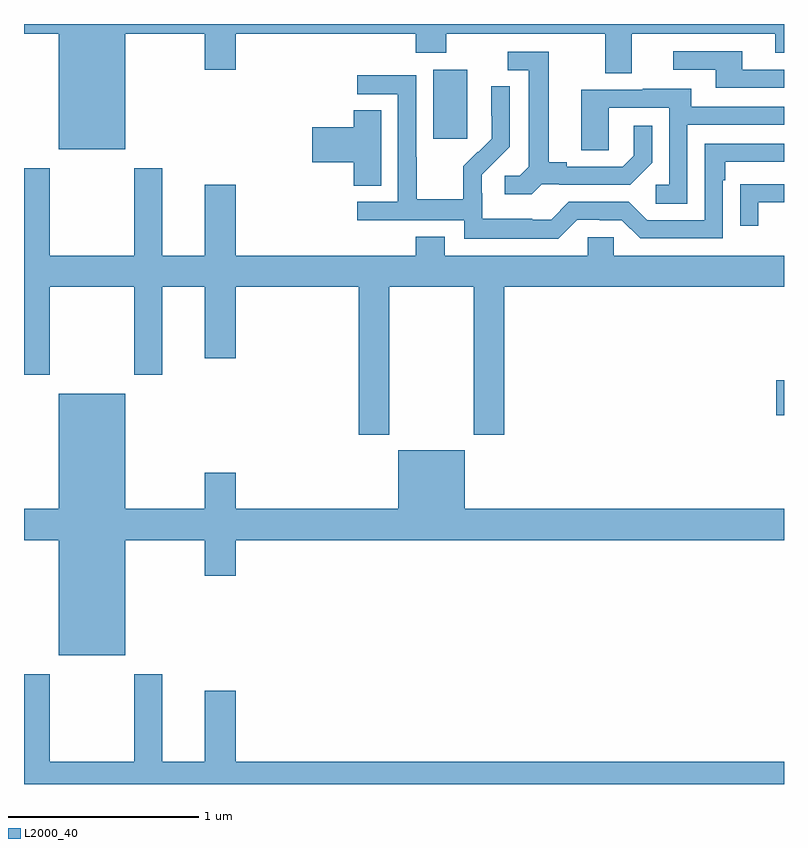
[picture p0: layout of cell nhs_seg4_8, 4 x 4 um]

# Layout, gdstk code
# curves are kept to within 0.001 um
import gdstk
lib = gdstk.Library(unit=1e-6, precision=1e-09)
def R(c, l, rs):  # rectangles x0, y0, x1, y1
    for r in rs: c.add(gdstk.rectangle(r[:2], r[2:], *l))
def P(c, l, *ps):  # polygons
    for p in ps: c.add(gdstk.Polygon(p, *l))
L2000_40 = (2000, 40)

nhs_seg4_8 = lib.new_cell('nhs_seg4_8')
R(nhs_seg4_8, L2000_40, [(114.96,766.841,115,767.024), (113.153,768.297,113.332,768.658)])
P(nhs_seg4_8, L2000_40, [(111.532,768.848),(111.95,768.848),(111.95,768.66),(112.114,768.66),(112.114,768.848),(113.063,768.848),(113.063,768.749),(113.223,768.749),(113.223,768.848),(114.059,768.848),(114.059,768.64),(114.199,768.64),(114.199,768.848),(114.953,768.848),(114.953,768.749),(115,768.749),(115,768.9),(111,768.9),(111,768.848),(111.182,768.848),(111.182,768.242),(111.532,768.242)],
  [(115,768.66),(114.781,768.66),(114.781,768.756),(114.417,768.756),(114.417,768.66),(114.641,768.66),(114.641,768.564),(115,768.564)],
  [(113.724,768.057),(113.818,768.057),(113.818,768.054),(114.19,768.054),(114.306,768.17),(114.306,768.364),(114.209,768.364),(114.209,768.207),(114.152,768.15),(113.857,768.15),(113.857,768.173),(113.761,768.173),(113.761,768.753),(113.547,768.753),(113.547,768.657),(113.657,768.657),(113.657,768.149),(113.61,768.102),(113.529,768.102),(113.529,768.005),(113.672,768.005)],
  [(113.913,767.871),(114.029,767.871),(114.029,767.868),(114.147,767.868),(114.243,767.772),(114.678,767.772),(114.678,768.077),(114.691,768.077),(114.691,768.174),(115,768.174),(115,768.27),(114.582,768.27),(114.582,767.868),(114.279,767.868),(114.183,767.964),(113.868,767.964),(113.775,767.871),(113.675,767.871),(113.675,767.875),(113.412,767.875),(113.412,768.009),(113.41,768.009),(113.41,768.106),(113.556,768.254),(113.556,768.572),(113.46,768.572),(113.46,768.418),(113.462,768.418),(113.462,768.296),(113.391,768.225),(113.388,768.228),(113.311,768.151),(113.311,767.977),(113.067,767.977),(113.067,768.2),(113.064,768.2),(113.064,768.63),(112.755,768.63),(112.755,768.531),(112.968,768.531),(112.968,767.964),(112.755,767.964),(112.755,767.868),(113.316,767.868),(113.316,767.771),(113.813,767.771)],
  [(114.492,768.369),(115,768.369),(115,768.465),(114.511,768.465),(114.511,768.559),(114.257,768.559),(114.257,768.555),(113.933,768.555),(113.933,768.235),(114.078,768.235),(114.078,768.459),(114.396,768.459),(114.396,768.054),(114.324,768.054),(114.324,767.953),(114.492,767.953)],
  [(112.879,768.446),(112.736,768.446),(112.736,768.356),(112.518,768.356),(112.518,768.173),(112.736,768.173),(112.736,768.049),(112.879,768.049)],
  [(112.923,767.516),(113.368,767.516),(113.368,766.737),(113.528,766.737),(113.528,767.516),(115,767.516),(115,767.68),(114.105,767.68),(114.105,767.778),(113.967,767.778),(113.967,767.68),(113.215,767.68),(113.215,767.779),(113.063,767.779),(113.063,767.68),(112.114,767.68),(112.114,768.055),(111.95,768.055),(111.95,767.68),(111.727,767.68),(111.727,768.142),(111.58,768.142),(111.58,767.68),(111.135,767.68),(111.135,768.142),(111,768.142),(111,767.055),(111.135,767.055),(111.135,767.516),(111.58,767.516),(111.58,767.055),(111.727,767.055),(111.727,767.516),(111.95,767.516),(111.95,767.142),(112.114,767.142),(112.114,767.516),(112.763,767.516),(112.763,766.737),(112.923,766.737)],
  [(114.865,767.961),(115,767.961),(115,768.057),(114.871,768.057),(114.871,768.056),(114.769,768.056),(114.769,767.838),(114.865,767.838)],
  [(111.532,766.184),(111.95,766.184),(111.95,765.996),(112.114,765.996),(112.114,766.184),(115,766.184),(115,766.348),(113.32,766.348),(113.32,766.657),(112.97,766.657),(112.97,766.348),(112.114,766.348),(112.114,766.537),(111.95,766.537),(111.95,766.348),(111.532,766.348),(111.532,766.954),(111.182,766.954),(111.182,766.348),(111,766.348),(111,766.184),(111.182,766.184),(111.182,765.578),(111.532,765.578)],
  [(115,765.016),(112.114,765.016),(112.114,765.391),(111.95,765.391),(111.95,765.016),(111.727,765.016),(111.727,765.478),(111.58,765.478),(111.58,765.016),(111.135,765.016),(111.135,765.478),(111,765.478),(111,764.9),(115,764.9)])

lib.write_gds('nhs_seg4_8.gds')
